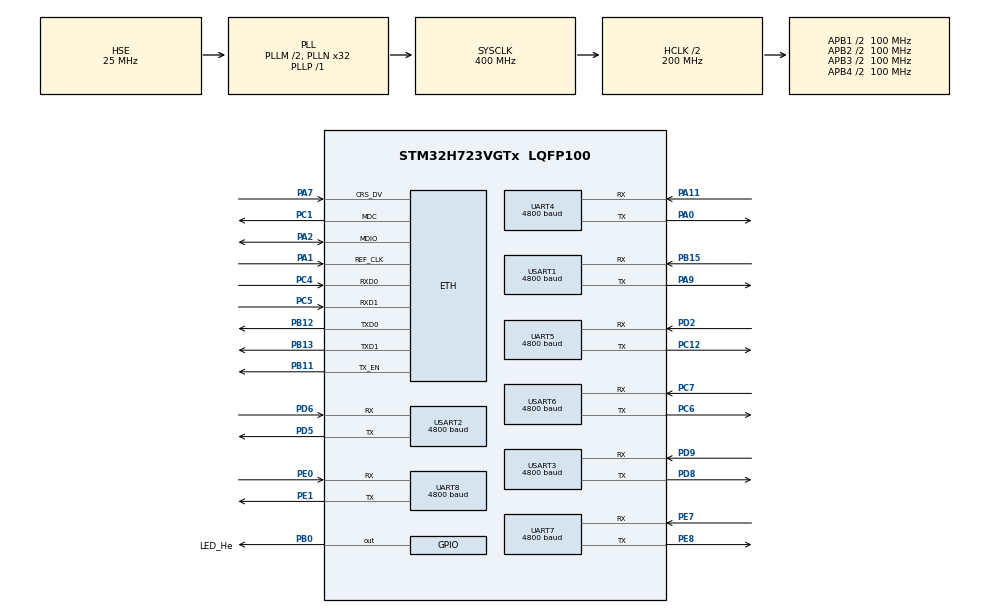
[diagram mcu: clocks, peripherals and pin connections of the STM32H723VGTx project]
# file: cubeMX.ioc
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CORTEX_M7.AccessPermission_S-Cortex_Memory_Protection_Unit_Region1_Settings_S=MPU_REGION_FULL_ACCESS
CORTEX_M7.AccessPermission_S-Cortex_Memory_Protection_Unit_Region2_Settings_S=MPU_REGION_FULL_ACCESS
CORTEX_M7.AccessPermission_Spec=MPU_REGION_NO_ACCESS
CORTEX_M7.BaseAddress_S-Cortex_Memory_Protection_Unit_Region1_Settings_S=0x30000000
CORTEX_M7.BaseAddress_S-Cortex_Memory_Protection_Unit_Region2_Settings_S=0x30000000
CORTEX_M7.BaseAddress_Spec=0x30000000
CORTEX_M7.CPU_DCache=Enabled
CORTEX_M7.CPU_ICache=Enabled
CORTEX_M7.DisableExec_S-Cortex_Memory_Protection_Unit_Region1_Settings_S=MPU_INSTRUCTION_ACCESS_DISABLE
CORTEX_M7.DisableExec_S-Cortex_Memory_Protection_Unit_Region2_Settings_S=MPU_INSTRUCTION_ACCESS_DISABLE
CORTEX_M7.Enable_S-Cortex_Memory_Protection_Unit_Region1_Settings_S=MPU_REGION_ENABLE
CORTEX_M7.Enable_S-Cortex_Memory_Protection_Unit_Region2_Settings_S=MPU_REGION_ENABLE
CORTEX_M7.IsBufferable_S-Cortex_Memory_Protection_Unit_Region2_Settings_S=MPU_ACCESS_BUFFERABLE
CORTEX_M7.IsBufferable_Spec=MPU_ACCESS_NOT_BUFFERABLE
CORTEX_M7.IsShareable_S-Cortex_Memory_Protection_Unit_Region2_Settings_S=MPU_ACCESS_SHAREABLE
CORTEX_M7.IsShareable_Spec=MPU_ACCESS_NOT_SHAREABLE
CORTEX_M7.MPU_Control=MPU_PRIVILEGED_DEFAULT
CORTEX_M7.Size_S-Cortex_Memory_Protection_Unit_Region1_Settings_S=MPU_REGION_SIZE_32KB
CORTEX_M7.Size_S-Cortex_Memory_Protection_Unit_Region2_Settings_S=MPU_REGION_SIZE_512B
CORTEX_M7.Size_Spec=MPU_REGION_SIZE_4GB
CORTEX_M7.SubRegionDisable_Spec=0x87
CORTEX_M7.TypeExtField_S-Cortex_Memory_Protection_Unit_Region1_Settings_S=MPU_TEX_LEVEL1
CORTEX_M7.TypeExtField_Spec=MPU_TEX_LEVEL0
CORTEX_M7.default_mode_Activation=1
Dma.Request0=UART5_RX
Dma.Request1=USART6_RX
Dma.Request10=USART2_RX
Dma.Request11=USART2_TX
Dma.Request12=USART3_RX
Dma.Request13=USART3_TX
Dma.Request14=UART4_RX
Dma.Request15=UART4_TX
Dma.Request2=UART7_RX
Dma.Request3=UART8_RX
Dma.Request4=UART5_TX
Dma.Request5=USART6_TX
Dma.Request6=UART7_TX
Dma.Request7=UART8_TX
Dma.Request8=USART1_RX
Dma.Request9=USART1_TX
Dma.UART4_RX.14.Direction=DMA_PERIPH_TO_MEMORY
Dma.UART4_RX.14.EventEnable=DISABLE
Dma.UART4_RX.14.FIFOMode=DMA_FIFOMODE_DISABLE
Dma.UART4_RX.14.Instance=DMA2_Stream2
Dma.UART4_RX.14.MemDataAlignment=DMA_MDATAALIGN_BYTE
Dma.UART4_RX.14.MemInc=DMA_MINC_ENABLE
Dma.UART4_RX.14.Mode=DMA_CIRCULAR
Dma.UART4_RX.14.PeriphDataAlignment=DMA_PDATAALIGN_BYTE
Dma.UART4_RX.14.PeriphInc=DMA_PINC_DISABLE
Dma.UART4_RX.14.Polarity=HAL_DMAMUX_REQ_GEN_RISING
Dma.UART4_RX.14.Priority=DMA_PRIORITY_LOW
Dma.UART4_RX.14.RequestNumber=1
Dma.UART4_RX.14.SignalID=NONE
Dma.UART4_RX.14.SyncEnable=DISABLE
Dma.UART4_RX.14.SyncPolarity=HAL_DMAMUX_SYNC_NO_EVENT
Dma.UART4_RX.14.SyncRequestNumber=1
Dma.UART4_RX.14.SyncSignalID=NONE
Dma.UART4_TX.15.Direction=DMA_MEMORY_TO_PERIPH
Dma.UART4_TX.15.EventEnable=DISABLE
Dma.UART4_TX.15.FIFOMode=DMA_FIFOMODE_DISABLE
Dma.UART4_TX.15.Instance=DMA2_Stream3
Dma.UART4_TX.15.MemDataAlignment=DMA_MDATAALIGN_BYTE
Dma.UART4_TX.15.MemInc=DMA_MINC_ENABLE
Dma.UART4_TX.15.Mode=DMA_NORMAL
Dma.UART4_TX.15.PeriphDataAlignment=DMA_PDATAALIGN_BYTE
Dma.UART4_TX.15.PeriphInc=DMA_PINC_DISABLE
Dma.UART4_TX.15.Polarity=HAL_DMAMUX_REQ_GEN_RISING
Dma.UART4_TX.15.Priority=DMA_PRIORITY_LOW
Dma.UART4_TX.15.RequestNumber=1
Dma.UART4_TX.15.SignalID=NONE
Dma.UART4_TX.15.SyncEnable=DISABLE
Dma.UART4_TX.15.SyncPolarity=HAL_DMAMUX_SYNC_NO_EVENT
Dma.UART4_TX.15.SyncRequestNumber=1
Dma.UART4_TX.15.SyncSignalID=NONE
Dma.UART5_RX.0.Direction=DMA_PERIPH_TO_MEMORY
Dma.UART5_RX.0.EventEnable=DISABLE
Dma.UART5_RX.0.FIFOMode=DMA_FIFOMODE_DISABLE
Dma.UART5_RX.0.Instance=DMA1_Stream4
Dma.UART5_RX.0.MemDataAlignment=DMA_MDATAALIGN_BYTE
Dma.UART5_RX.0.MemInc=DMA_MINC_ENABLE
Dma.UART5_RX.0.Mode=DMA_CIRCULAR
Dma.UART5_RX.0.PeriphDataAlignment=DMA_PDATAALIGN_BYTE
Dma.UART5_RX.0.PeriphInc=DMA_PINC_DISABLE
Dma.UART5_RX.0.Polarity=HAL_DMAMUX_REQ_GEN_RISING
Dma.UART5_RX.0.Priority=DMA_PRIORITY_LOW
Dma.UART5_RX.0.RequestNumber=1
Dma.UART5_RX.0.SignalID=NONE
Dma.UART5_RX.0.SyncEnable=DISABLE
Dma.UART5_RX.0.SyncPolarity=HAL_DMAMUX_SYNC_NO_EVENT
Dma.UART5_RX.0.SyncRequestNumber=1
Dma.UART5_RX.0.SyncSignalID=NONE
Dma.UART5_TX.4.Direction=DMA_MEMORY_TO_PERIPH
Dma.UART5_TX.4.EventEnable=DISABLE
Dma.UART5_TX.4.FIFOMode=DMA_FIFOMODE_DISABLE
Dma.UART5_TX.4.Instance=DMA2_Stream4
Dma.UART5_TX.4.MemDataAlignment=DMA_MDATAALIGN_BYTE
Dma.UART5_TX.4.MemInc=DMA_MINC_ENABLE
Dma.UART5_TX.4.Mode=DMA_NORMAL
Dma.UART5_TX.4.PeriphDataAlignment=DMA_PDATAALIGN_BYTE
Dma.UART5_TX.4.PeriphInc=DMA_PINC_DISABLE
Dma.UART5_TX.4.Polarity=HAL_DMAMUX_REQ_GEN_RISING
Dma.UART5_TX.4.Priority=DMA_PRIORITY_LOW
Dma.UART5_TX.4.RequestNumber=1
Dma.UART5_TX.4.SignalID=NONE
Dma.UART5_TX.4.SyncEnable=DISABLE
Dma.UART5_TX.4.SyncPolarity=HAL_DMAMUX_SYNC_NO_EVENT
Dma.UART5_TX.4.SyncRequestNumber=1
Dma.UART5_TX.4.SyncSignalID=NONE
Dma.UART7_RX.2.Direction=DMA_PERIPH_TO_MEMORY
Dma.UART7_RX.2.EventEnable=DISABLE
Dma.UART7_RX.2.FIFOMode=DMA_FIFOMODE_DISABLE
Dma.UART7_RX.2.Instance=DMA1_Stream6
Dma.UART7_RX.2.MemDataAlignment=DMA_MDATAALIGN_BYTE
Dma.UART7_RX.2.MemInc=DMA_MINC_ENABLE
Dma.UART7_RX.2.Mode=DMA_CIRCULAR
Dma.UART7_RX.2.PeriphDataAlignment=DMA_PDATAALIGN_BYTE
Dma.UART7_RX.2.PeriphInc=DMA_PINC_DISABLE
Dma.UART7_RX.2.Polarity=HAL_DMAMUX_REQ_GEN_RISING
Dma.UART7_RX.2.Priority=DMA_PRIORITY_LOW
Dma.UART7_RX.2.RequestNumber=1
Dma.UART7_RX.2.SignalID=NONE
Dma.UART7_RX.2.SyncEnable=DISABLE
Dma.UART7_RX.2.SyncPolarity=HAL_DMAMUX_SYNC_NO_EVENT
Dma.UART7_RX.2.SyncRequestNumber=1
Dma.UART7_RX.2.SyncSignalID=NONE
Dma.UART7_TX.6.Direction=DMA_MEMORY_TO_PERIPH
Dma.UART7_TX.6.EventEnable=DISABLE
Dma.UART7_TX.6.FIFOMode=DMA_FIFOMODE_DISABLE
Dma.UART7_TX.6.Instance=DMA2_Stream6
Dma.UART7_TX.6.MemDataAlignment=DMA_MDATAALIGN_BYTE
Dma.UART7_TX.6.MemInc=DMA_MINC_ENABLE
Dma.UART7_TX.6.Mode=DMA_NORMAL
Dma.UART7_TX.6.PeriphDataAlignment=DMA_PDATAALIGN_BYTE
Dma.UART7_TX.6.PeriphInc=DMA_PINC_DISABLE
Dma.UART7_TX.6.Polarity=HAL_DMAMUX_REQ_GEN_RISING
Dma.UART7_TX.6.Priority=DMA_PRIORITY_LOW
Dma.UART7_TX.6.RequestNumber=1
Dma.UART7_TX.6.SignalID=NONE
Dma.UART7_TX.6.SyncEnable=DISABLE
Dma.UART7_TX.6.SyncPolarity=HAL_DMAMUX_SYNC_NO_EVENT
Dma.UART7_TX.6.SyncRequestNumber=1
Dma.UART7_TX.6.SyncSignalID=NONE
Dma.UART8_RX.3.Direction=DMA_PERIPH_TO_MEMORY
Dma.UART8_RX.3.EventEnable=DISABLE
Dma.UART8_RX.3.FIFOMode=DMA_FIFOMODE_DISABLE
Dma.UART8_RX.3.Instance=DMA1_Stream7
Dma.UART8_RX.3.MemDataAlignment=DMA_MDATAALIGN_BYTE
Dma.UART8_RX.3.MemInc=DMA_MINC_ENABLE
Dma.UART8_RX.3.Mode=DMA_CIRCULAR
Dma.UART8_RX.3.PeriphDataAlignment=DMA_PDATAALIGN_BYTE
Dma.UART8_RX.3.PeriphInc=DMA_PINC_DISABLE
Dma.UART8_RX.3.Polarity=HAL_DMAMUX_REQ_GEN_RISING
Dma.UART8_RX.3.Priority=DMA_PRIORITY_LOW
Dma.UART8_RX.3.RequestNumber=1
Dma.UART8_RX.3.SignalID=NONE
Dma.UART8_RX.3.SyncEnable=DISABLE
Dma.UART8_RX.3.SyncPolarity=HAL_DMAMUX_SYNC_NO_EVENT
Dma.UART8_RX.3.SyncRequestNumber=1
Dma.UART8_RX.3.SyncSignalID=NONE
Dma.UART8_TX.7.Direction=DMA_MEMORY_TO_PERIPH
Dma.UART8_TX.7.EventEnable=DISABLE
Dma.UART8_TX.7.FIFOMode=DMA_FIFOMODE_DISABLE
Dma.UART8_TX.7.Instance=DMA2_Stream7
Dma.UART8_TX.7.MemDataAlignment=DMA_MDATAALIGN_BYTE
Dma.UART8_TX.7.MemInc=DMA_MINC_ENABLE
Dma.UART8_TX.7.Mode=DMA_NORMAL
Dma.UART8_TX.7.PeriphDataAlignment=DMA_PDATAALIGN_BYTE
Dma.UART8_TX.7.PeriphInc=DMA_PINC_DISABLE
Dma.UART8_TX.7.Polarity=HAL_DMAMUX_REQ_GEN_RISING
Dma.UART8_TX.7.Priority=DMA_PRIORITY_LOW
Dma.UART8_TX.7.RequestNumber=1
Dma.UART8_TX.7.SignalID=NONE
Dma.UART8_TX.7.SyncEnable=DISABLE
Dma.UART8_TX.7.SyncPolarity=HAL_DMAMUX_SYNC_NO_EVENT
Dma.UART8_TX.7.SyncRequestNumber=1
Dma.UART8_TX.7.SyncSignalID=NONE
Dma.USART1_RX.8.Direction=DMA_PERIPH_TO_MEMORY
Dma.USART1_RX.8.EventEnable=DISABLE
Dma.USART1_RX.8.FIFOMode=DMA_FIFOMODE_DISABLE
Dma.USART1_RX.8.Instance=DMA1_Stream0
Dma.USART1_RX.8.MemDataAlignment=DMA_MDATAALIGN_BYTE
Dma.USART1_RX.8.MemInc=DMA_MINC_ENABLE
Dma.USART1_RX.8.Mode=DMA_CIRCULAR
Dma.USART1_RX.8.PeriphDataAlignment=DMA_PDATAALIGN_BYTE
Dma.USART1_RX.8.PeriphInc=DMA_PINC_DISABLE
Dma.USART1_RX.8.Polarity=HAL_DMAMUX_REQ_GEN_RISING
Dma.USART1_RX.8.Priority=DMA_PRIORITY_LOW
Dma.USART1_RX.8.RequestNumber=1
Dma.USART1_RX.8.SignalID=NONE
Dma.USART1_RX.8.SyncEnable=DISABLE
Dma.USART1_RX.8.SyncPolarity=HAL_DMAMUX_SYNC_NO_EVENT
Dma.USART1_RX.8.SyncRequestNumber=1
Dma.USART1_RX.8.SyncSignalID=NONE
Dma.USART1_TX.9.Direction=DMA_MEMORY_TO_PERIPH
Dma.USART1_TX.9.EventEnable=DISABLE
Dma.USART1_TX.9.FIFOMode=DMA_FIFOMODE_DISABLE
Dma.USART1_TX.9.Instance=DMA1_Stream1
Dma.USART1_TX.9.MemDataAlignment=DMA_MDATAALIGN_BYTE
Dma.USART1_TX.9.MemInc=DMA_MINC_ENABLE
Dma.USART1_TX.9.Mode=DMA_NORMAL
Dma.USART1_TX.9.PeriphDataAlignment=DMA_PDATAALIGN_BYTE
Dma.USART1_TX.9.PeriphInc=DMA_PINC_DISABLE
Dma.USART1_TX.9.Polarity=HAL_DMAMUX_REQ_GEN_RISING
Dma.USART1_TX.9.Priority=DMA_PRIORITY_LOW
Dma.USART1_TX.9.RequestNumber=1
Dma.USART1_TX.9.SignalID=NONE
Dma.USART1_TX.9.SyncEnable=DISABLE
Dma.USART1_TX.9.SyncPolarity=HAL_DMAMUX_SYNC_NO_EVENT
Dma.USART1_TX.9.SyncRequestNumber=1
Dma.USART1_TX.9.SyncSignalID=NONE
Dma.USART2_RX.10.Direction=DMA_PERIPH_TO_MEMORY
Dma.USART2_RX.10.EventEnable=DISABLE
Dma.USART2_RX.10.FIFOMode=DMA_FIFOMODE_DISABLE
Dma.USART2_RX.10.Instance=DMA1_Stream2
Dma.USART2_RX.10.MemDataAlignment=DMA_MDATAALIGN_BYTE
Dma.USART2_RX.10.MemInc=DMA_MINC_ENABLE
Dma.USART2_RX.10.Mode=DMA_CIRCULAR
Dma.USART2_RX.10.PeriphDataAlignment=DMA_PDATAALIGN_BYTE
Dma.USART2_RX.10.PeriphInc=DMA_PINC_DISABLE
Dma.USART2_RX.10.Polarity=HAL_DMAMUX_REQ_GEN_RISING
Dma.USART2_RX.10.Priority=DMA_PRIORITY_LOW
Dma.USART2_RX.10.RequestNumber=1
Dma.USART2_RX.10.SignalID=NONE
Dma.USART2_RX.10.SyncEnable=DISABLE
Dma.USART2_RX.10.SyncPolarity=HAL_DMAMUX_SYNC_NO_EVENT
Dma.USART2_RX.10.SyncRequestNumber=1
Dma.USART2_RX.10.SyncSignalID=NONE
Dma.USART2_TX.11.Direction=DMA_MEMORY_TO_PERIPH
Dma.USART2_TX.11.EventEnable=DISABLE
Dma.USART2_TX.11.FIFOMode=DMA_FIFOMODE_DISABLE
Dma.USART2_TX.11.Instance=DMA1_Stream3
Dma.USART2_TX.11.MemDataAlignment=DMA_MDATAALIGN_BYTE
Dma.USART2_TX.11.MemInc=DMA_MINC_ENABLE
Dma.USART2_TX.11.Mode=DMA_NORMAL
Dma.USART2_TX.11.PeriphDataAlignment=DMA_PDATAALIGN_BYTE
Dma.USART2_TX.11.PeriphInc=DMA_PINC_DISABLE
Dma.USART2_TX.11.Polarity=HAL_DMAMUX_REQ_GEN_RISING
Dma.USART2_TX.11.Priority=DMA_PRIORITY_LOW
Dma.USART2_TX.11.RequestNumber=1
Dma.USART2_TX.11.SignalID=NONE
Dma.USART2_TX.11.SyncEnable=DISABLE
Dma.USART2_TX.11.SyncPolarity=HAL_DMAMUX_SYNC_NO_EVENT
Dma.USART2_TX.11.SyncRequestNumber=1
Dma.USART2_TX.11.SyncSignalID=NONE
Dma.USART3_RX.12.Direction=DMA_PERIPH_TO_MEMORY
Dma.USART3_RX.12.EventEnable=DISABLE
Dma.USART3_RX.12.FIFOMode=DMA_FIFOMODE_DISABLE
Dma.USART3_RX.12.Instance=DMA2_Stream0
Dma.USART3_RX.12.MemDataAlignment=DMA_MDATAALIGN_BYTE
Dma.USART3_RX.12.MemInc=DMA_MINC_ENABLE
Dma.USART3_RX.12.Mode=DMA_CIRCULAR
Dma.USART3_RX.12.PeriphDataAlignment=DMA_PDATAALIGN_BYTE
Dma.USART3_RX.12.PeriphInc=DMA_PINC_DISABLE
Dma.USART3_RX.12.Polarity=HAL_DMAMUX_REQ_GEN_RISING
Dma.USART3_RX.12.Priority=DMA_PRIORITY_LOW
Dma.USART3_RX.12.RequestNumber=1
Dma.USART3_RX.12.SignalID=NONE
Dma.USART3_RX.12.SyncEnable=DISABLE
Dma.USART3_RX.12.SyncPolarity=HAL_DMAMUX_SYNC_NO_EVENT
Dma.USART3_RX.12.SyncRequestNumber=1
Dma.USART3_RX.12.SyncSignalID=NONE
Dma.USART3_TX.13.Direction=DMA_MEMORY_TO_PERIPH
Dma.USART3_TX.13.EventEnable=DISABLE
Dma.USART3_TX.13.FIFOMode=DMA_FIFOMODE_DISABLE
Dma.USART3_TX.13.Instance=DMA2_Stream1
Dma.USART3_TX.13.MemDataAlignment=DMA_MDATAALIGN_BYTE
Dma.USART3_TX.13.MemInc=DMA_MINC_ENABLE
Dma.USART3_TX.13.Mode=DMA_NORMAL
Dma.USART3_TX.13.PeriphDataAlignment=DMA_PDATAALIGN_BYTE
Dma.USART3_TX.13.PeriphInc=DMA_PINC_DISABLE
Dma.USART3_TX.13.Polarity=HAL_DMAMUX_REQ_GEN_RISING
Dma.USART3_TX.13.Priority=DMA_PRIORITY_LOW
Dma.USART3_TX.13.RequestNumber=1
Dma.USART3_TX.13.SignalID=NONE
Dma.USART3_TX.13.SyncEnable=DISABLE
Dma.USART3_TX.13.SyncPolarity=HAL_DMAMUX_SYNC_NO_EVENT
Dma.USART3_TX.13.SyncRequestNumber=1
Dma.USART3_TX.13.SyncSignalID=NONE
Dma.USART6_RX.1.Direction=DMA_PERIPH_TO_MEMORY
Dma.USART6_RX.1.EventEnable=DISABLE
Dma.USART6_RX.1.FIFOMode=DMA_FIFOMODE_DISABLE
Dma.USART6_RX.1.Instance=DMA1_Stream5
Dma.USART6_RX.1.MemDataAlignment=DMA_MDATAALIGN_BYTE
Dma.USART6_RX.1.MemInc=DMA_MINC_ENABLE
Dma.USART6_RX.1.Mode=DMA_CIRCULAR
Dma.USART6_RX.1.PeriphDataAlignment=DMA_PDATAALIGN_BYTE
Dma.USART6_RX.1.PeriphInc=DMA_PINC_DISABLE
Dma.USART6_RX.1.Polarity=HAL_DMAMUX_REQ_GEN_RISING
Dma.USART6_RX.1.Priority=DMA_PRIORITY_LOW
Dma.USART6_RX.1.RequestNumber=1
Dma.USART6_RX.1.SignalID=NONE
Dma.USART6_RX.1.SyncEnable=DISABLE
Dma.USART6_RX.1.SyncPolarity=HAL_DMAMUX_SYNC_NO_EVENT
Dma.USART6_RX.1.SyncRequestNumber=1
Dma.USART6_RX.1.SyncSignalID=NONE
Dma.USART6_TX.5.Direction=DMA_MEMORY_TO_PERIPH
Dma.USART6_TX.5.EventEnable=DISABLE
Dma.USART6_TX.5.FIFOMode=DMA_FIFOMODE_DISABLE
Dma.USART6_TX.5.Instance=DMA2_Stream5
Dma.USART6_TX.5.MemDataAlignment=DMA_MDATAALIGN_BYTE
Dma.USART6_TX.5.MemInc=DMA_MINC_ENABLE
Dma.USART6_TX.5.Mode=DMA_NORMAL
Dma.USART6_TX.5.PeriphDataAlignment=DMA_PDATAALIGN_BYTE
Dma.USART6_TX.5.PeriphInc=DMA_PINC_DISABLE
Dma.USART6_TX.5.Polarity=HAL_DMAMUX_REQ_GEN_RISING
Dma.USART6_TX.5.Priority=DMA_PRIORITY_LOW
Dma.USART6_TX.5.RequestNumber=1
Dma.USART6_TX.5.SignalID=NONE
Dma.USART6_TX.5.SyncEnable=DISABLE
Dma.USART6_TX.5.SyncPolarity=HAL_DMAMUX_SYNC_NO_EVENT
Dma.USART6_TX.5.SyncRequestNumber=1
Dma.USART6_TX.5.SyncSignalID=NONE
ETH.MediaInterface=HAL_ETH_RMII_MODE
FREERTOS.Tasks01=defaultTask,24,512,StartDefaultTask,Default,NULL,Dynamic,NULL,NULL
FREERTOS.configCHECK_FOR_STACK_OVERFLOW=1
FREERTOS.configTOTAL_HEAP_SIZE=32000
FREERTOS.configUSE_MALLOC_FAILED_HOOK=1
FREERTOS.configUSE_NEWLIB_REENTRANT=0
LWIP.BSP.number=1
LWIP.IP_ADDRESS=192.0.2.10
LWIP.LWIP_DHCP=0
LWIP.LWIP_RAM_HEAP_POINTER=0x30006000
LWIP.LWIP_TCP=0
LWIP.MEM_SIZE=8192
LWIP.NETMASK_ADDRESS=255.255.255.000
LWIP.TCPIP_THREAD_STACKSIZE=1024
LWIP.TCP_MSS=536
LWIP.TCP_QUEUE_OOSEQ=1
LWIP.TCP_SND_BUF=1072
LWIP.TCP_SND_QUEUELEN=9
LWIP.TCP_WND=2144
LWIP.Version=v2.1.2_Cube
LWIP0.BSP.STBoard=false
LWIP0.BSP.api=BSP_COMPONENT_DRIVER
LWIP0.BSP.component=LAN8742
LWIP0.BSP.instance=LAN8742
LWIP0.BSP.name=Driver_PHY
LWIP0.BSP.semaphore=S_LAN8742
LWIP0.BSP.solution=LAN8742
Mcu.Family=STM32H7
Mcu.Name=STM32H723VGTx
Mcu.Package=LQFP100
NVIC.DMA1_Stream0_IRQn=true\:5\:0\:false\:false\:true\:true\:false\:true\:true
NVIC.DMA1_Stream1_IRQn=true\:5\:0\:false\:false\:true\:true\:false\:true\:true
NVIC.DMA1_Stream2_IRQn=true\:5\:0\:false\:false\:true\:true\:false\:true\:true
NVIC.DMA1_Stream3_IRQn=true\:5\:0\:false\:false\:true\:true\:false\:true\:true
NVIC.DMA1_Stream4_IRQn=true\:5\:0\:false\:false\:true\:true\:false\:true\:true
NVIC.DMA1_Stream5_IRQn=true\:5\:0\:false\:false\:true\:true\:false\:true\:true
NVIC.DMA1_Stream6_IRQn=true\:5\:0\:false\:false\:true\:true\:false\:true\:true
NVIC.DMA1_Stream7_IRQn=true\:5\:0\:false\:false\:true\:true\:false\:true\:true
NVIC.DMA2_Stream0_IRQn=true\:5\:0\:false\:false\:true\:true\:false\:true\:true
NVIC.DMA2_Stream1_IRQn=true\:5\:0\:false\:false\:true\:true\:false\:true\:true
NVIC.DMA2_Stream2_IRQn=true\:5\:0\:false\:false\:true\:true\:false\:true\:true
NVIC.DMA2_Stream3_IRQn=true\:5\:0\:false\:false\:true\:true\:false\:true\:true
NVIC.DMA2_Stream4_IRQn=true\:5\:0\:false\:false\:true\:true\:false\:true\:true
NVIC.DMA2_Stream5_IRQn=true\:5\:0\:false\:false\:true\:true\:false\:true\:true
NVIC.DMA2_Stream6_IRQn=true\:5\:0\:false\:false\:true\:true\:false\:true\:true
NVIC.DMA2_Stream7_IRQn=true\:5\:0\:false\:false\:true\:true\:false\:true\:true
NVIC.ETH_IRQn=true\:5\:0\:false\:false\:true\:true\:true\:true\:true
NVIC.PriorityGroup=NVIC_PRIORITYGROUP_4
NVIC.TIM6_DAC_IRQn=true\:15\:0\:false\:false\:true\:false\:false\:true\:true
NVIC.TimeBase=TIM6_DAC_IRQn
NVIC.TimeBaseIP=TIM6
NVIC.UART4_IRQn=true\:5\:0\:false\:false\:true\:true\:true\:true\:true
NVIC.UART5_IRQn=true\:5\:0\:false\:false\:true\:true\:true\:true\:true
NVIC.UART7_IRQn=true\:5\:0\:false\:false\:true\:true\:true\:true\:true
NVIC.UART8_IRQn=true\:5\:0\:false\:false\:true\:true\:true\:true\:true
NVIC.USART1_IRQn=true\:5\:0\:false\:false\:true\:true\:true\:true\:true
NVIC.USART2_IRQn=true\:5\:0\:false\:false\:true\:true\:true\:true\:true
NVIC.USART3_IRQn=true\:5\:0\:false\:false\:true\:true\:true\:true\:true
NVIC.USART6_IRQn=true\:5\:0\:false\:false\:true\:true\:true\:true\:true
PA0.Mode=Asynchronous
PA0.Signal=UART4_TX
PA1.Mode=RMII
PA1.Signal=ETH_REF_CLK
PA11.Mode=Asynchronous
PA11.Signal=UART4_RX
PA13(JTMS/SWDIO).Mode=Serial_Wire
PA13(JTMS/SWDIO).Signal=DEBUG_JTMS-SWDIO
PA14(JTCK/SWCLK).Mode=Serial_Wire
PA14(JTCK/SWCLK).Signal=DEBUG_JTCK-SWCLK
PA2.Mode=RMII
PA2.Signal=ETH_MDIO
PA7.Mode=RMII
PA7.Signal=ETH_CRS_DV
PA9.Mode=Asynchronous
PA9.Signal=USART1_TX
PB0.GPIO_Label=LED_He
PB0.Signal=GPIO_Output
PB11.Mode=RMII
PB11.Signal=ETH_TX_EN
PB12.Mode=RMII
PB12.Signal=ETH_TXD0
PB13.Mode=RMII
PB13.Signal=ETH_TXD1
PB15.Mode=Asynchronous
PB15.Signal=USART1_RX
PC1.Mode=RMII
PC1.Signal=ETH_MDC
PC12.Mode=Asynchronous
PC12.Signal=UART5_TX
PC4.Mode=RMII
PC4.Signal=ETH_RXD0
PC5.Mode=RMII
PC5.Signal=ETH_RXD1
PC6.Mode=Asynchronous
PC6.Signal=USART6_TX
PC7.Mode=Asynchronous
PC7.Signal=USART6_RX
PD2.Mode=Asynchronous
PD2.Signal=UART5_RX
PD5.Mode=Asynchronous
PD5.Signal=USART2_TX
PD6.Mode=Asynchronous
PD6.Signal=USART2_RX
PD8.Mode=Asynchronous
PD8.Signal=USART3_TX
PD9.Mode=Asynchronous
PD9.Signal=USART3_RX
PE0.Mode=Asynchronous
PE0.Signal=UART8_RX
PE1.Mode=Asynchronous
PE1.Signal=UART8_TX
PE7.Mode=Asynchronous
PE7.Signal=UART7_RX
PE8.Mode=Asynchronous
PE8.Signal=UART7_TX
PH0-OSC_IN.Mode=HSE-External-Oscillator
PH0-OSC_IN.Signal=RCC_OSC_IN
PH1-OSC_OUT.Mode=HSE-External-Oscillator
PH1-OSC_OUT.Signal=RCC_OSC_OUT
ProjectManager.HeapSize=0x300
ProjectManager.StackSize=0x500
ProjectManager.TargetToolchain=EWARM V8.50
RCC.ADCFreq_Value=50390625
RCC.APB1Freq_Value=100000000
RCC.APB2Freq_Value=100000000
RCC.APB3Freq_Value=100000000
RCC.APB4Freq_Value=100000000
RCC.CortexFreq_Value=400000000
RCC.D1PPRE=RCC_APB3_DIV2
RCC.D2PPRE1=RCC_APB1_DIV2
RCC.D2PPRE2=RCC_APB2_DIV2
RCC.D3PPRE=RCC_APB4_DIV2
RCC.DIVM1=2
RCC.DIVN1=32
RCC.DIVP1=1
RCC.HCLKFreq_Value=200000000
RCC.HPRE=RCC_HCLK_DIV2
RCC.HSE_VALUE=25000000
RCC.PLL2FRACN=0
RCC.PLL3FRACN=0
RCC.PLLFRACN=0
RCC.PLLSourceVirtual=RCC_PLLSOURCE_HSE
RCC.SYSCLKFreq_VALUE=400000000
RCC.SYSCLKSource=RCC_SYSCLKSOURCE_PLLCLK
RCC.USBFreq_Value=200000000
UART4.BaudRate=4800
UART5.BaudRate=4800
UART7.BaudRate=4800
UART8.BaudRate=4800
USART1.BaudRate=4800
USART1.VirtualMode-Asynchronous=VM_ASYNC
USART2.BaudRate=4800
USART2.VirtualMode-Asynchronous=VM_ASYNC
USART3.BaudRate=4800
USART3.VirtualMode-Asynchronous=VM_ASYNC
USART6.BaudRate=4800
USART6.VirtualMode=VM_ASYNC
VP_FREERTOS_VS_CMSIS_V2.Mode=CMSIS_V2
VP_LWIP_VS_Enabled.Mode=Enabled
VP_MEMORYMAP_VS_MEMORYMAP.Mode=CurAppReg
VP_SYS_VS_tim6.Mode=TIM6
board=custom

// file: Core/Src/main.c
/* USER CODE BEGIN Header */
/**
  ******************************************************************************
  * @file           : main.c
  * @brief          : Main program body
  ******************************************************************************
  * @attention
  *
  * Copyright (c) 2026 STMicroelectronics.
  * All rights reserved.
  *
  * This software is licensed under terms that can be found in the LICENSE file
  * in the root directory of this software component.
  * If no LICENSE file comes with this software, it is provided AS-IS.
  *
  ******************************************************************************
  */
/* USER CODE END Header */
#include "main.h"
#include "cmsis_os.h"
#include "lwip.h"

/* USER CODE BEGIN Includes */
#include "app_baseline.h"
#include "net_bridge.h"
#include "net_diag.h"
#include "platform_fault.h"
#include "platform_reset.h"
#include "platform_session.h"
#include "platform_supervisor.h"
#include "uart_service.h"
#include "eth_bringup_diag.h"

/* USER CODE END Includes */

UART_HandleTypeDef huart4;
UART_HandleTypeDef huart5;
UART_HandleTypeDef huart7;
UART_HandleTypeDef huart8;
UART_HandleTypeDef huart1;
UART_HandleTypeDef huart2;
UART_HandleTypeDef huart3;
UART_HandleTypeDef huart6;
DMA_HandleTypeDef hdma_uart4_rx;
DMA_HandleTypeDef hdma_uart4_tx;
DMA_HandleTypeDef hdma_uart5_rx;
DMA_HandleTypeDef hdma_uart5_tx;
DMA_HandleTypeDef hdma_uart7_rx;
DMA_HandleTypeDef hdma_uart7_tx;
DMA_HandleTypeDef hdma_uart8_rx;
DMA_HandleTypeDef hdma_uart8_tx;
DMA_HandleTypeDef hdma_usart1_rx;
DMA_HandleTypeDef hdma_usart1_tx;
DMA_HandleTypeDef hdma_usart2_rx;
DMA_HandleTypeDef hdma_usart2_tx;
DMA_HandleTypeDef hdma_usart3_rx;
DMA_HandleTypeDef hdma_usart3_tx;
DMA_HandleTypeDef hdma_usart6_rx;
DMA_HandleTypeDef hdma_usart6_tx;

/* Definitions for defaultTask */
osThreadId_t defaultTaskHandle;
const osThreadAttr_t defaultTask_attributes = {
  .name = "defaultTask",
  .stack_size = 512 * 4,
  .priority = (osPriority_t) osPriorityNormal,
};

void SystemClock_Config(void);
static void MPU_Config(void);
static void MX_GPIO_Init(void);
static void MX_DMA_Init(void);
static void MX_UART5_Init(void);
static void MX_USART6_UART_Init(void);
static void MX_UART7_Init(void);
static void MX_UART8_Init(void);
static void MX_USART1_UART_Init(void);
static void MX_USART2_UART_Init(void);
static void MX_USART3_UART_Init(void);
static void MX_UART4_Init(void);
void StartDefaultTask(void *argument);

int main(void)
{

  /* MPU Configuration--------------------------------------------------------*/
  MPU_Config();

  /* Enable the CPU Cache */

  /* Enable I-Cache---------------------------------------------------------*/
  SCB_EnableICache();

  /* Enable D-Cache---------------------------------------------------------*/
  SCB_EnableDCache();

  /* MCU Configuration--------------------------------------------------------*/

  /* Reset of all peripherals, Initializes the Flash interface and the Systick. */
  HAL_Init();

  /* USER CODE BEGIN Init */

  platform_reset_boot_capture();

  /* USER CODE END Init */

  /* Configure the system clock */
  SystemClock_Config();

  /* Initialize all configured peripherals */
  MX_GPIO_Init();
  MX_DMA_Init();
  MX_UART5_Init();
  MX_USART6_UART_Init();
  MX_UART7_Init();
  MX_UART8_Init();
  MX_USART1_UART_Init();
  MX_USART2_UART_Init();
  MX_USART3_UART_Init();
  MX_UART4_Init();
  /* USER CODE BEGIN 2 */
  app_baseline_init(HAL_GetTick());
  platform_supervisor_init(HAL_GetTick());

  /* USER CODE END 2 */

  /* Init scheduler */
  osKernelInitialize();

  /* USER CODE BEGIN RTOS_MUTEX */
  /* add mutexes, ... */
  if (osKernelGetState() != osKernelReady)
  {
    platform_fault_raise(PLATFORM_FAULT_KERNEL_INIT, __FILE__, (uint32_t)__LINE__);
  }
  /* Initialize every LwIP/RTOS object before the scheduler starts. The raw
   * diagnostic callback subsequently executes only in tcpip_thread. */
  MX_LWIP_Init();
  if (net_diag_init_before_scheduler() != NET_DIAG_OK)
  {
    platform_fault_raise(PLATFORM_FAULT_NET_DIAG_INIT,
                         __FILE__,
                         (uint32_t)__LINE__);
  }
  if (net_bridge_init_before_scheduler(platform_session_next()) !=
      NET_BRIDGE_OK)
  {
    platform_fault_raise(PLATFORM_FAULT_NET_BRIDGE_INIT,
                         __FILE__,
                         (uint32_t)__LINE__);
  }
  /* USER CODE END RTOS_MUTEX */

  /* Create the thread(s) */
  /* creation of defaultTask */
  defaultTaskHandle = osThreadNew(StartDefaultTask, NULL, &defaultTask_attributes);

  /* USER CODE BEGIN RTOS_THREADS */
  /* add threads, ... */
  if (defaultTaskHandle == NULL)
  {
    platform_fault_raise(PLATFORM_FAULT_TASK_CREATE, __FILE__, (uint32_t)__LINE__);
  }
  /* USER CODE END RTOS_THREADS */

  /* Start scheduler */
  osKernelStart();

  /* We should never get here as control is now taken by the scheduler */

  /* Infinite loop */
  /* USER CODE BEGIN WHILE */
  platform_fault_raise(PLATFORM_FAULT_KERNEL_START, __FILE__, (uint32_t)__LINE__);
  while (1)
  {
    /* USER CODE END WHILE */

  }
}

void SystemClock_Config(void)
{
  RCC_OscInitTypeDef RCC_OscInitStruct = {0};
  RCC_ClkInitTypeDef RCC_ClkInitStruct = {0};

  /** Supply configuration update enable
  */
  HAL_PWREx_ConfigSupply(PWR_LDO_SUPPLY);

  /** Configure the main internal regulator output voltage
  */
  __HAL_PWR_VOLTAGESCALING_CONFIG(PWR_REGULATOR_VOLTAGE_SCALE1);

  while(!__HAL_PWR_GET_FLAG(PWR_FLAG_VOSRDY)) {}

  /** Initializes the RCC Oscillators according to the specified parameters
  * in the RCC_OscInitTypeDef structure.
  */
  RCC_OscInitStruct.OscillatorType = RCC_OSCILLATORTYPE_HSE;
  RCC_OscInitStruct.HSEState = RCC_HSE_ON;
  RCC_OscInitStruct.PLL.PLLState = RCC_PLL_ON;
  RCC_OscInitStruct.PLL.PLLSource = RCC_PLLSOURCE_HSE;
  RCC_OscInitStruct.PLL.PLLM = 2;
  RCC_OscInitStruct.PLL.PLLN = 32;
  RCC_OscInitStruct.PLL.PLLP = 1;
  RCC_OscInitStruct.PLL.PLLQ = 2;
  RCC_OscInitStruct.PLL.PLLR = 2;
  RCC_OscInitStruct.PLL.PLLRGE = RCC_PLL1VCIRANGE_3;
  RCC_OscInitStruct.PLL.PLLVCOSEL = RCC_PLL1VCOWIDE;
  RCC_OscInitStruct.PLL.PLLFRACN = 0;
  if (HAL_RCC_OscConfig(&RCC_OscInitStruct) != HAL_OK)
  {
    Error_Handler();
  }

  /** Initializes the CPU, AHB and APB buses clocks
  */
  RCC_ClkInitStruct.ClockType = RCC_CLOCKTYPE_HCLK|RCC_CLOCKTYPE_SYSCLK
                              |RCC_CLOCKTYPE_PCLK1|RCC_CLOCKTYPE_PCLK2
                              |RCC_CLOCKTYPE_D3PCLK1|RCC_CLOCKTYPE_D1PCLK1;
  RCC_ClkInitStruct.SYSCLKSource = RCC_SYSCLKSOURCE_PLLCLK;
  RCC_ClkInitStruct.SYSCLKDivider = RCC_SYSCLK_DIV1;
  RCC_ClkInitStruct.AHBCLKDivider = RCC_HCLK_DIV2;
  RCC_ClkInitStruct.APB3CLKDivider = RCC_APB3_DIV2;
  RCC_ClkInitStruct.APB1CLKDivider = RCC_APB1_DIV2;
  RCC_ClkInitStruct.APB2CLKDivider = RCC_APB2_DIV2;
  RCC_ClkInitStruct.APB4CLKDivider = RCC_APB4_DIV2;

  if (HAL_RCC_ClockConfig(&RCC_ClkInitStruct, FLASH_LATENCY_2) != HAL_OK)
  {
    Error_Handler();
  }
}

static void MX_UART4_Init(void)
{

  huart4.Instance = UART4;
  huart4.Init.BaudRate = 4800;
  huart4.Init.WordLength = UART_WORDLENGTH_8B;
  huart4.Init.StopBits = UART_STOPBITS_1;
  huart4.Init.Parity = UART_PARITY_NONE;
  huart4.Init.Mode = UART_MODE_TX_RX;
  huart4.Init.HwFlowCtl = UART_HWCONTROL_NONE;
  huart4.Init.OverSampling = UART_OVERSAMPLING_16;
  huart4.Init.OneBitSampling = UART_ONE_BIT_SAMPLE_DISABLE;
  huart4.Init.ClockPrescaler = UART_PRESCALER_DIV1;
  huart4.AdvancedInit.AdvFeatureInit = UART_ADVFEATURE_NO_INIT;
  if (HAL_UART_Init(&huart4) != HAL_OK)
  {
    Error_Handler();
  }
  if (HAL_UARTEx_SetTxFifoThreshold(&huart4, UART_TXFIFO_THRESHOLD_1_8) != HAL_OK)
  {
    Error_Handler();
  }
  if (HAL_UARTEx_SetRxFifoThreshold(&huart4, UART_RXFIFO_THRESHOLD_1_8) != HAL_OK)
  {
    Error_Handler();
  }
  if (HAL_UARTEx_DisableFifoMode(&huart4) != HAL_OK)
  {
    Error_Handler();
  }

}

static void MX_UART5_Init(void)
{

  huart5.Instance = UART5;
  huart5.Init.BaudRate = 4800;
  huart5.Init.WordLength = UART_WORDLENGTH_8B;
  huart5.Init.StopBits = UART_STOPBITS_1;
  huart5.Init.Parity = UART_PARITY_NONE;
  huart5.Init.Mode = UART_MODE_TX_RX;
  huart5.Init.HwFlowCtl = UART_HWCONTROL_NONE;
  huart5.Init.OverSampling = UART_OVERSAMPLING_16;
  huart5.Init.OneBitSampling = UART_ONE_BIT_SAMPLE_DISABLE;
  huart5.Init.ClockPrescaler = UART_PRESCALER_DIV1;
  huart5.AdvancedInit.AdvFeatureInit = UART_ADVFEATURE_NO_INIT;
  if (HAL_UART_Init(&huart5) != HAL_OK)
  {
    Error_Handler();
  }
  if (HAL_UARTEx_SetTxFifoThreshold(&huart5, UART_TXFIFO_THRESHOLD_1_8) != HAL_OK)
  {
    Error_Handler();
  }
  if (HAL_UARTEx_SetRxFifoThreshold(&huart5, UART_RXFIFO_THRESHOLD_1_8) != HAL_OK)
  {
    Error_Handler();
  }
  if (HAL_UARTEx_DisableFifoMode(&huart5) != HAL_OK)
  {
    Error_Handler();
  }

}

static void MX_UART7_Init(void)
{

  huart7.Instance = UART7;
  huart7.Init.BaudRate = 4800;
  huart7.Init.WordLength = UART_WORDLENGTH_8B;
  huart7.Init.StopBits = UART_STOPBITS_1;
  huart7.Init.Parity = UART_PARITY_NONE;
  huart7.Init.Mode = UART_MODE_TX_RX;
  huart7.Init.HwFlowCtl = UART_HWCONTROL_NONE;
  huart7.Init.OverSampling = UART_OVERSAMPLING_16;
  huart7.Init.OneBitSampling = UART_ONE_BIT_SAMPLE_DISABLE;
  huart7.Init.ClockPrescaler = UART_PRESCALER_DIV1;
  huart7.AdvancedInit.AdvFeatureInit = UART_ADVFEATURE_NO_INIT;
  if (HAL_UART_Init(&huart7) != HAL_OK)
  {
    Error_Handler();
  }
  if (HAL_UARTEx_SetTxFifoThreshold(&huart7, UART_TXFIFO_THRESHOLD_1_8) != HAL_OK)
  {
    Error_Handler();
  }
  if (HAL_UARTEx_SetRxFifoThreshold(&huart7, UART_RXFIFO_THRESHOLD_1_8) != HAL_OK)
  {
    Error_Handler();
  }
  if (HAL_UARTEx_DisableFifoMode(&huart7) != HAL_OK)
  {
    Error_Handler();
  }

}

static void MX_UART8_Init(void)
{

  huart8.Instance = UART8;
  huart8.Init.BaudRate = 4800;
  huart8.Init.WordLength = UART_WORDLENGTH_8B;
  huart8.Init.StopBits = UART_STOPBITS_1;
  huart8.Init.Parity = UART_PARITY_NONE;
  huart8.Init.Mode = UART_MODE_TX_RX;
  huart8.Init.HwFlowCtl = UART_HWCONTROL_NONE;
  huart8.Init.OverSampling = UART_OVERSAMPLING_16;
  huart8.Init.OneBitSampling = UART_ONE_BIT_SAMPLE_DISABLE;
  huart8.Init.ClockPrescaler = UART_PRESCALER_DIV1;
  huart8.AdvancedInit.AdvFeatureInit = UART_ADVFEATURE_NO_INIT;
  if (HAL_UART_Init(&huart8) != HAL_OK)
  {
    Error_Handler();
  }
  if (HAL_UARTEx_SetTxFifoThreshold(&huart8, UART_TXFIFO_THRESHOLD_1_8) != HAL_OK)
  {
    Error_Handler();
  }
  if (HAL_UARTEx_SetRxFifoThreshold(&huart8, UART_RXFIFO_THRESHOLD_1_8) != HAL_OK)
  {
    Error_Handler();
  }
  if (HAL_UARTEx_DisableFifoMode(&huart8) != HAL_OK)
  {
    Error_Handler();
  }

}

static void MX_USART1_UART_Init(void)
{

  huart1.Instance = USART1;
  huart1.Init.BaudRate = 4800;
  huart1.Init.WordLength = UART_WORDLENGTH_8B;
  huart1.Init.StopBits = UART_STOPBITS_1;
  huart1.Init.Parity = UART_PARITY_NONE;
  huart1.Init.Mode = UART_MODE_TX_RX;
  huart1.Init.HwFlowCtl = UART_HWCONTROL_NONE;
  huart1.Init.OverSampling = UART_OVERSAMPLING_16;
  huart1.Init.OneBitSampling = UART_ONE_BIT_SAMPLE_DISABLE;
  huart1.Init.ClockPrescaler = UART_PRESCALER_DIV1;
  huart1.AdvancedInit.AdvFeatureInit = UART_ADVFEATURE_NO_INIT;
  if (HAL_UART_Init(&huart1) != HAL_OK)
  {
    Error_Handler();
  }
  if (HAL_UARTEx_SetTxFifoThreshold(&huart1, UART_TXFIFO_THRESHOLD_1_8) != HAL_OK)
  {
    Error_Handler();
  }
  if (HAL_UARTEx_SetRxFifoThreshold(&huart1, UART_RXFIFO_THRESHOLD_1_8) != HAL_OK)
  {
    Error_Handler();
  }
  if (HAL_UARTEx_DisableFifoMode(&huart1) != HAL_OK)
  {
    Error_Handler();
  }

}

static void MX_USART2_UART_Init(void)
{

  huart2.Instance = USART2;
  huart2.Init.BaudRate = 4800;
  huart2.Init.WordLength = UART_WORDLENGTH_8B;
  huart2.Init.StopBits = UART_STOPBITS_1;
  huart2.Init.Parity = UART_PARITY_NONE;
  huart2.Init.Mode = UART_MODE_TX_RX;
  huart2.Init.HwFlowCtl = UART_HWCONTROL_NONE;
  huart2.Init.OverSampling = UART_OVERSAMPLING_16;
  huart2.Init.OneBitSampling = UART_ONE_BIT_SAMPLE_DISABLE;
  huart2.Init.ClockPrescaler = UART_PRESCALER_DIV1;
  huart2.AdvancedInit.AdvFeatureInit = UART_ADVFEATURE_NO_INIT;
  if (HAL_UART_Init(&huart2) != HAL_OK)
  {
    Error_Handler();
  }
  if (HAL_UARTEx_SetTxFifoThreshold(&huart2, UART_TXFIFO_THRESHOLD_1_8) != HAL_OK)
  {
    Error_Handler();
  }
  if (HAL_UARTEx_SetRxFifoThreshold(&huart2, UART_RXFIFO_THRESHOLD_1_8) != HAL_OK)
  {
    Error_Handler();
  }
  if (HAL_UARTEx_DisableFifoMode(&huart2) != HAL_OK)
  {
    Error_Handler();
  }

}

static void MX_USART3_UART_Init(void)
{

  huart3.Instance = USART3;
  huart3.Init.BaudRate = 4800;
  huart3.Init.WordLength = UART_WORDLENGTH_8B;
  huart3.Init.StopBits = UART_STOPBITS_1;
  huart3.Init.Parity = UART_PARITY_NONE;
  huart3.Init.Mode = UART_MODE_TX_RX;
  huart3.Init.HwFlowCtl = UART_HWCONTROL_NONE;
  huart3.Init.OverSampling = UART_OVERSAMPLING_16;
  huart3.Init.OneBitSampling = UART_ONE_BIT_SAMPLE_DISABLE;
  huart3.Init.ClockPrescaler = UART_PRESCALER_DIV1;
  huart3.AdvancedInit.AdvFeatureInit = UART_ADVFEATURE_NO_INIT;
  if (HAL_UART_Init(&huart3) != HAL_OK)
  {
    Error_Handler();
  }
  if (HAL_UARTEx_SetTxFifoThreshold(&huart3, UART_TXFIFO_THRESHOLD_1_8) != HAL_OK)
  {
    Error_Handler();
  }
  if (HAL_UARTEx_SetRxFifoThreshold(&huart3, UART_RXFIFO_THRESHOLD_1_8) != HAL_OK)
  {
    Error_Handler();
  }
  if (HAL_UARTEx_DisableFifoMode(&huart3) != HAL_OK)
  {
    Error_Handler();
  }

}

static void MX_USART6_UART_Init(void)
{

  huart6.Instance = USART6;
  huart6.Init.BaudRate = 4800;
  huart6.Init.WordLength = UART_WORDLENGTH_8B;
  huart6.Init.StopBits = UART_STOPBITS_1;
  huart6.Init.Parity = UART_PARITY_NONE;
  huart6.Init.Mode = UART_MODE_TX_RX;
  huart6.Init.HwFlowCtl = UART_HWCONTROL_NONE;
  huart6.Init.OverSampling = UART_OVERSAMPLING_16;
  huart6.Init.OneBitSampling = UART_ONE_BIT_SAMPLE_DISABLE;
  huart6.Init.ClockPrescaler = UART_PRESCALER_DIV1;
  huart6.AdvancedInit.AdvFeatureInit = UART_ADVFEATURE_NO_INIT;
  if (HAL_UART_Init(&huart6) != HAL_OK)
  {
    Error_Handler();
  }
  if (HAL_UARTEx_SetTxFifoThreshold(&huart6, UART_TXFIFO_THRESHOLD_1_8) != HAL_OK)
  {
    Error_Handler();
  }
  if (HAL_UARTEx_SetRxFifoThreshold(&huart6, UART_RXFIFO_THRESHOLD_1_8) != HAL_OK)
  {
    Error_Handler();
  }
  if (HAL_UARTEx_DisableFifoMode(&huart6) != HAL_OK)
  {
    Error_Handler();
  }

}

static void MX_DMA_Init(void)
{

  /* DMA controller clock enable */
  __HAL_RCC_DMA1_CLK_ENABLE();
  __HAL_RCC_DMA2_CLK_ENABLE();

  /* DMA interrupt init */
  /* DMA1_Stream0_IRQn interrupt configuration */
  HAL_NVIC_SetPriority(DMA1_Stream0_IRQn, 5, 0);
  HAL_NVIC_EnableIRQ(DMA1_Stream0_IRQn);
  /* DMA1_Stream1_IRQn interrupt configuration */
  HAL_NVIC_SetPriority(DMA1_Stream1_IRQn, 5, 0);
  HAL_NVIC_EnableIRQ(DMA1_Stream1_IRQn);
  /* DMA1_Stream2_IRQn interrupt configuration */
  HAL_NVIC_SetPriority(DMA1_Stream2_IRQn, 5, 0);
  HAL_NVIC_EnableIRQ(DMA1_Stream2_IRQn);
  /* DMA1_Stream3_IRQn interrupt configuration */
  HAL_NVIC_SetPriority(DMA1_Stream3_IRQn, 5, 0);
  HAL_NVIC_EnableIRQ(DMA1_Stream3_IRQn);
  /* DMA1_Stream4_IRQn interrupt configuration */
  HAL_NVIC_SetPriority(DMA1_Stream4_IRQn, 5, 0);
  HAL_NVIC_EnableIRQ(DMA1_Stream4_IRQn);
  /* DMA1_Stream5_IRQn interrupt configuration */
  HAL_NVIC_SetPriority(DMA1_Stream5_IRQn, 5, 0);
  HAL_NVIC_EnableIRQ(DMA1_Stream5_IRQn);
  /* DMA1_Stream6_IRQn interrupt configuration */
  HAL_NVIC_SetPriority(DMA1_Stream6_IRQn, 5, 0);
  HAL_NVIC_EnableIRQ(DMA1_Stream6_IRQn);
  /* DMA1_Stream7_IRQn interrupt configuration */
  HAL_NVIC_SetPriority(DMA1_Stream7_IRQn, 5, 0);
  HAL_NVIC_EnableIRQ(DMA1_Stream7_IRQn);
  /* DMA2_Stream0_IRQn interrupt configuration */
  HAL_NVIC_SetPriority(DMA2_Stream0_IRQn, 5, 0);
  HAL_NVIC_EnableIRQ(DMA2_Stream0_IRQn);
  /* DMA2_Stream1_IRQn interrupt configuration */
  HAL_NVIC_SetPriority(DMA2_Stream1_IRQn, 5, 0);
  HAL_NVIC_EnableIRQ(DMA2_Stream1_IRQn);
  /* DMA2_Stream2_IRQn interrupt configuration */
  HAL_NVIC_SetPriority(DMA2_Stream2_IRQn, 5, 0);
  HAL_NVIC_EnableIRQ(DMA2_Stream2_IRQn);
  /* DMA2_Stream3_IRQn interrupt configuration */
  HAL_NVIC_SetPriority(DMA2_Stream3_IRQn, 5, 0);
  HAL_NVIC_EnableIRQ(DMA2_Stream3_IRQn);
  /* DMA2_Stream4_IRQn interrupt configuration */
  HAL_NVIC_SetPriority(DMA2_Stream4_IRQn, 5, 0);
  HAL_NVIC_EnableIRQ(DMA2_Stream4_IRQn);
  /* DMA2_Stream5_IRQn interrupt configuration */
  HAL_NVIC_SetPriority(DMA2_Stream5_IRQn, 5, 0);
  HAL_NVIC_EnableIRQ(DMA2_Stream5_IRQn);
  /* DMA2_Stream6_IRQn interrupt configuration */
  HAL_NVIC_SetPriority(DMA2_Stream6_IRQn, 5, 0);
  HAL_NVIC_EnableIRQ(DMA2_Stream6_IRQn);
  /* DMA2_Stream7_IRQn interrupt configuration */
  HAL_NVIC_SetPriority(DMA2_Stream7_IRQn, 5, 0);
  HAL_NVIC_EnableIRQ(DMA2_Stream7_IRQn);

}

static void MX_GPIO_Init(void)
{
  GPIO_InitTypeDef GPIO_InitStruct = {0};

  /* GPIO Ports Clock Enable */
  __HAL_RCC_GPIOH_CLK_ENABLE();
  __HAL_RCC_GPIOC_CLK_ENABLE();
  __HAL_RCC_GPIOA_CLK_ENABLE();
  __HAL_RCC_GPIOB_CLK_ENABLE();
  __HAL_RCC_GPIOE_CLK_ENABLE();
  __HAL_RCC_GPIOD_CLK_ENABLE();

  /*Configure GPIO pin Output Level */
  HAL_GPIO_WritePin(LED_He_GPIO_Port, LED_He_Pin, GPIO_PIN_RESET);

  /*Configure GPIO pin : LED_He_Pin */
  GPIO_InitStruct.Pin = LED_He_Pin;
  GPIO_InitStruct.Mode = GPIO_MODE_OUTPUT_PP;
  GPIO_InitStruct.Pull = GPIO_NOPULL;
  GPIO_InitStruct.Speed = GPIO_SPEED_FREQ_LOW;
  HAL_GPIO_Init(LED_He_GPIO_Port, &GPIO_InitStruct);

}

void StartDefaultTask(void *argument)
{
  /* init code for LWIP */
  MX_LWIP_Init();
  /* USER CODE BEGIN 5 */
  UART_HandleTypeDef *const uart_handles[UART_SERVICE_CHANNEL_COUNT] =
  {
    &huart1, &huart2, &huart3, &huart4,
    &huart5, &huart6, &huart7, &huart8
  };
  uint32_t uart_event_bits = UART_SERVICE_ALL_CHANNEL_BITS;
  uint32_t supervisor_last_evaluation_ms = HAL_GetTick();

  if (uart_service_start(uart_handles,
                         xTaskGetCurrentTaskHandle()) != UART_SERVICE_OK)
  {
    platform_fault_raise(PLATFORM_FAULT_UART_SERVICE_START,
                         __FILE__,
                         (uint32_t)__LINE__);
  }
  /* Infinite loop */
  for(;;)
  {
    uint32_t now_ms = HAL_GetTick();
    uint32_t stack_free_words = 0U;
    platform_health_t health;

#if (INCLUDE_uxTaskGetStackHighWaterMark == 1)
    stack_free_words = (uint32_t)uxTaskGetStackHighWaterMark(NULL);
#endif
    platform_supervisor_heartbeat(PLATFORM_SUPERVISOR_TASK_APP,
                                  now_ms,
                                  stack_free_words);
    (void)uart_service_process(uart_event_bits);
    net_bridge_poll(now_ms);
    app_baseline_poll(now_ms);
    eth_bringup_diag_poll(now_ms);
    if ((uint32_t)(now_ms - supervisor_last_evaluation_ms) >= 50U)
    {
      platform_supervisor_snapshot_t supervisor_snapshot;
      supervisor_last_evaluation_ms = now_ms;
      health = platform_supervisor_evaluate(now_ms);
      if (health == PLATFORM_HEALTH_FAULT_TASK)
      {
        platform_supervisor_get_snapshot(&supervisor_snapshot);
        platform_reset_note_supervisor(supervisor_snapshot.stale_task_mask,
                                       (uint32_t)health);
      }
    }
    uart_event_bits = 0U;
    (void)xTaskNotifyWait(0U,
                          UINT32_MAX,
                          &uart_event_bits,
                          pdMS_TO_TICKS(1U));
  }
  /* USER CODE END 5 */
}

 /* MPU Configuration */

void MPU_Config(void)
{
  MPU_Region_InitTypeDef MPU_InitStruct = {0};

  /* Disables the MPU */
  HAL_MPU_Disable();

  /** Initializes and configures the Region and the memory to be protected
  */
  MPU_InitStruct.Enable = MPU_REGION_ENABLE;
  MPU_InitStruct.Number = MPU_REGION_NUMBER0;
  MPU_InitStruct.BaseAddress = 0x30000000;
  MPU_InitStruct.Size = MPU_REGION_SIZE_4GB;
  MPU_InitStruct.SubRegionDisable = 0x87;
  MPU_InitStruct.TypeExtField = MPU_TEX_LEVEL0;
  MPU_InitStruct.AccessPermission = MPU_REGION_NO_ACCESS;
  MPU_InitStruct.DisableExec = MPU_INSTRUCTION_ACCESS_DISABLE;
  MPU_InitStruct.IsShareable = MPU_ACCESS_NOT_SHAREABLE;
  MPU_InitStruct.IsCacheable = MPU_ACCESS_NOT_CACHEABLE;
  MPU_InitStruct.IsBufferable = MPU_ACCESS_NOT_BUFFERABLE;

  HAL_MPU_ConfigRegion(&MPU_InitStruct);

  /** Initializes and configures the Region and the memory to be protected
  */
  MPU_InitStruct.Number = MPU_REGION_NUMBER1;
  MPU_InitStruct.Size = MPU_REGION_SIZE_32KB;
  MPU_InitStruct.SubRegionDisable = 0x0;
  MPU_InitStruct.TypeExtField = MPU_TEX_LEVEL1;
  MPU_InitStruct.AccessPermission = MPU_REGION_FULL_ACCESS;

  HAL_MPU_ConfigRegion(&MPU_InitStruct);

  /** Initializes and configures the Region and the memory to be protected
  */
  MPU_InitStruct.Number = MPU_REGION_NUMBER2;
  MPU_InitStruct.Size = MPU_REGION_SIZE_512B;
  MPU_InitStruct.TypeExtField = MPU_TEX_LEVEL0;
  MPU_InitStruct.IsShareable = MPU_ACCESS_SHAREABLE;
  MPU_InitStruct.IsBufferable = MPU_ACCESS_BUFFERABLE;

  HAL_MPU_ConfigRegion(&MPU_InitStruct);
  /* Enables the MPU */
  HAL_MPU_Enable(MPU_PRIVILEGED_DEFAULT);

}

void HAL_TIM_PeriodElapsedCallback(TIM_HandleTypeDef *htim)
{
  if (htim->Instance == TIM6)
  {
    HAL_IncTick();
  }
}

void Error_Handler(void)
{
  /* USER CODE BEGIN Error_Handler_Debug */
  platform_fault_raise(PLATFORM_FAULT_HAL_ERROR,
                       __FILE__,
                       (uint32_t)__LINE__);
  /* USER CODE END Error_Handler_Debug */
}

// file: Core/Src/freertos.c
/* USER CODE BEGIN Header */
/**
  ******************************************************************************
  * File Name          : freertos.c
  * Description        : Code for freertos applications
  ******************************************************************************
  * @attention
  *
  * Copyright (c) 2026 STMicroelectronics.
  * All rights reserved.
  *
  * This software is licensed under terms that can be found in the LICENSE file
  * in the root directory of this software component.
  * If no LICENSE file comes with this software, it is provided AS-IS.
  *
  ******************************************************************************
  */
/* USER CODE END Header */

#include "FreeRTOS.h"
#include "task.h"
#include "main.h"

/* USER CODE BEGIN Includes */
#include "platform_fault.h"
#include "eth_bringup_diag.h"
#include "eth_ping_probe.h"

/* USER CODE END Includes */

/* Hook prototypes */
void vApplicationStackOverflowHook(xTaskHandle xTask, signed char *pcTaskName);
void vApplicationMallocFailedHook(void);

/* USER CODE BEGIN 4 */
void vApplicationStackOverflowHook(xTaskHandle xTask, signed char *pcTaskName)
{
   /* Run time stack overflow checking is performed if
   configCHECK_FOR_STACK_OVERFLOW is defined to 1 or 2. This hook function is
   called if a stack overflow is detected. */
  (void)xTask;
  (void)pcTaskName;
  platform_fault_raise(PLATFORM_FAULT_STACK_OVERFLOW, __FILE__, (uint32_t)__LINE__);
}
/* USER CODE END 4 */

/* USER CODE BEGIN 5 */
void vApplicationMallocFailedHook(void)
{
   /* vApplicationMallocFailedHook() will only be called if
   configUSE_MALLOC_FAILED_HOOK is set to 1 in FreeRTOSConfig.h. It is a hook
   function that will get called if a call to pvPortMalloc() fails.
   pvPortMalloc() is called internally by the kernel whenever a task, queue,
   timer or semaphore is created. It is also called by various parts of the
   demo application. If heap_1.c or heap_2.c are used, then the size of the
   heap available to pvPortMalloc() is defined by configTOTAL_HEAP_SIZE in
   FreeRTOSConfig.h, and the xPortGetFreeHeapSize() API function can be used
   to query the size of free heap space that remains (although it does not
   provide information on how the remaining heap might be fragmented). */
  platform_fault_raise(PLATFORM_FAULT_MALLOC_FAILED, __FILE__, (uint32_t)__LINE__);
}
/* USER CODE END 5 */

/* USER CODE BEGIN Application */

extern volatile uint32_t u8b_lwip_netif_ready;

volatile eth_bringup_diag_t u8b_eth_bringup_diag;

void eth_bringup_diag_poll(uint32_t now_ms)
{
  eth_bringup_diag_t sample;
  static uint32_t last_sample_ms;

  /* No LwIP or MDIO call: the Ethernet/link owners publish these counters.
   * Sampling every 250 ms keeps the default task's work bounded. */
  if ((uint32_t)(now_ms - last_sample_ms) < 250U)
  {
    return;
  }
  last_sample_ms = now_ms;
  sample.sample_ms = now_ms;
  sample.samples = u8b_eth_bringup_diag.samples + 1U;
  sample.lwip_netif_ready = u8b_lwip_netif_ready;
  sample.phy_init_attempts = u8b_eth_ping_probe.phy_init_attempts;
  sample.phy_init_status = u8b_eth_ping_probe.phy_init_status;
  sample.phy_id1 = u8b_eth_ping_probe.mdio_id1;
  sample.phy_id2 = u8b_eth_ping_probe.mdio_id2;
  sample.phy_link_state = u8b_eth_ping_probe.phy_raw_link_state;
  sample.eth_start_attempts = u8b_eth_ping_probe.eth_start_attempts;
  sample.eth_start_errors = u8b_eth_ping_probe.eth_start_errors;
  sample.eth_irqs = u8b_eth_ping_probe.eth_irqs;
  sample.rx_frames = u8b_eth_ping_probe.rx_frames;
  sample.tx_attempts = u8b_eth_ping_probe.tx_attempts;
  sample.tx_errors = u8b_eth_ping_probe.tx_errors;
  sample.stage = (uint32_t)eth_bringup_classify(&sample);

  u8b_eth_bringup_diag.sample_ms = sample.sample_ms;
  u8b_eth_bringup_diag.samples = sample.samples;
  u8b_eth_bringup_diag.lwip_netif_ready = sample.lwip_netif_ready;
  u8b_eth_bringup_diag.phy_init_attempts = sample.phy_init_attempts;
  u8b_eth_bringup_diag.phy_init_status = sample.phy_init_status;
  u8b_eth_bringup_diag.phy_id1 = sample.phy_id1;
  u8b_eth_bringup_diag.phy_id2 = sample.phy_id2;
  u8b_eth_bringup_diag.phy_link_state = sample.phy_link_state;
  u8b_eth_bringup_diag.eth_start_attempts = sample.eth_start_attempts;
  u8b_eth_bringup_diag.eth_start_errors = sample.eth_start_errors;
  u8b_eth_bringup_diag.eth_irqs = sample.eth_irqs;
  u8b_eth_bringup_diag.rx_frames = sample.rx_frames;
  u8b_eth_bringup_diag.tx_attempts = sample.tx_attempts;
  u8b_eth_bringup_diag.tx_errors = sample.tx_errors;
  u8b_eth_bringup_diag.stage = sample.stage;
}

/* USER CODE END Application */
